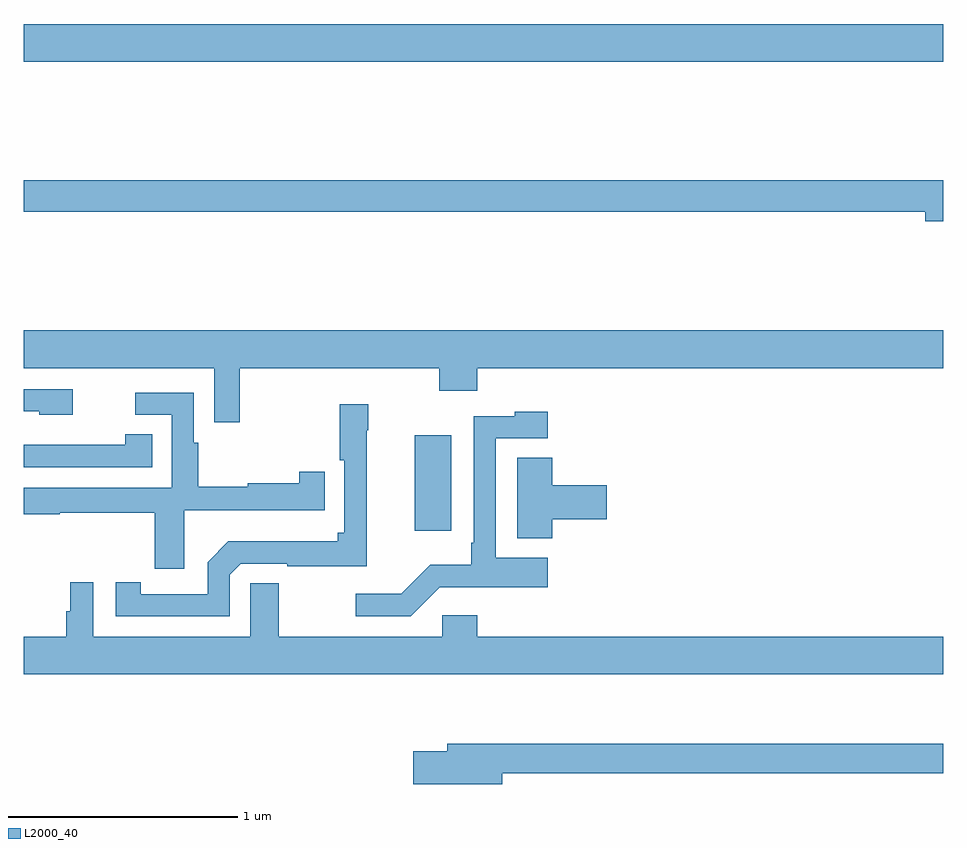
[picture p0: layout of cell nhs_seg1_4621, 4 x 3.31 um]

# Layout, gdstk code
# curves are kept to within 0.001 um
import gdstk
lib = gdstk.Library(unit=1e-6, precision=1e-09)
def R(c, l, rs):  # rectangles x0, y0, x1, y1
    for r in rs: c.add(gdstk.rectangle(r[:2], r[2:], *l))
def P(c, l, *ps):  # polygons
    for p in ps: c.add(gdstk.Polygon(p, *l))
L2000_40 = (2000, 40)

nhs_seg1_4621 = lib.new_cell('nhs_seg1_4621')
R(nhs_seg1_4621, L2000_40, [(362.702,573.669,362.86,574.084), (361,575.708,365,575.872)])
P(nhs_seg1_4621, L2000_40, [(365,575.192),(361,575.192),(361,575.056),(364.922,575.056),(364.922,575.014),(365,575.014)],
  [(361.939,574.376),(362.807,574.376),(362.807,574.277),(362.972,574.277),(362.972,574.376),(365,574.376),(365,574.54),(361,574.54),(361,574.376),(361.83,574.376),(361.83,574.14),(361.939,574.14)],
  [(361.213,574.284),(361,574.284),(361,574.188),(361.068,574.188),(361.068,574.172),(361.213,574.172)],
  [(361.699,573.758),(362.309,573.758),(362.309,573.925),(362.198,573.925),(362.198,573.875),(361.974,573.875),(361.974,573.86),(361.76,573.86),(361.76,574.052),(361.74,574.052),(361.74,574.269),(361.485,574.269),(361.485,574.173),(361.644,574.173),(361.644,573.855),(361,573.855),(361,573.739),(361.157,573.739),(361.157,573.747),(361.571,573.747),(361.571,573.504),(361.699,573.504)],
  [(361.896,573.477),(361.944,573.525),(362.147,573.525),(362.147,573.513),(362.492,573.513),(362.492,574.106),(362.498,574.106),(362.498,574.219),(362.374,574.219),(362.374,573.974),(362.394,573.974),(362.394,573.66),(362.366,573.66),(362.366,573.622),(361.891,573.622),(361.8,573.531),(361.8,573.393),(361.51,573.393),(361.51,573.445),(361.401,573.445),(361.401,573.297),(361.896,573.297)],
  [(362.809,573.423),(363.28,573.422),(363.28,573.55),(363.054,573.55),(363.054,574.071),(363.28,574.071),(363.28,574.186),(363.135,574.186),(363.135,574.167),(362.958,574.167),(362.958,573.616),(362.946,573.616),(362.946,573.52),(362.768,573.52),(362.642,573.394),(362.445,573.394),(362.445,573.297),(362.683,573.297)],
  [(361.559,574.088),(361.441,574.088),(361.441,574.042),(361,574.042),(361,573.945),(361.559,573.945)],
  [(363.299,573.719),(363.535,573.719),(363.535,573.866),(363.299,573.866),(363.299,573.986),(363.146,573.986),(363.146,573.635),(363.299,573.635)],
  [(365,573.208),(362.972,573.208),(362.972,573.301),(362.82,573.301),(362.82,573.208),(362.109,573.208),(362.109,573.44),(361.986,573.44),(361.986,573.208),(361.303,573.208),(361.303,573.445),(361.202,573.445),(361.202,573.318),(361.185,573.318),(361.185,573.208),(361,573.208),(361,573.044),(365,573.044)],
  [(363.082,572.614),(365,572.614),(365,572.743),(362.843,572.743),(362.843,572.709),(362.694,572.709),(362.694,572.567),(363.082,572.567)])

lib.write_gds('nhs_seg1_4621.gds')
